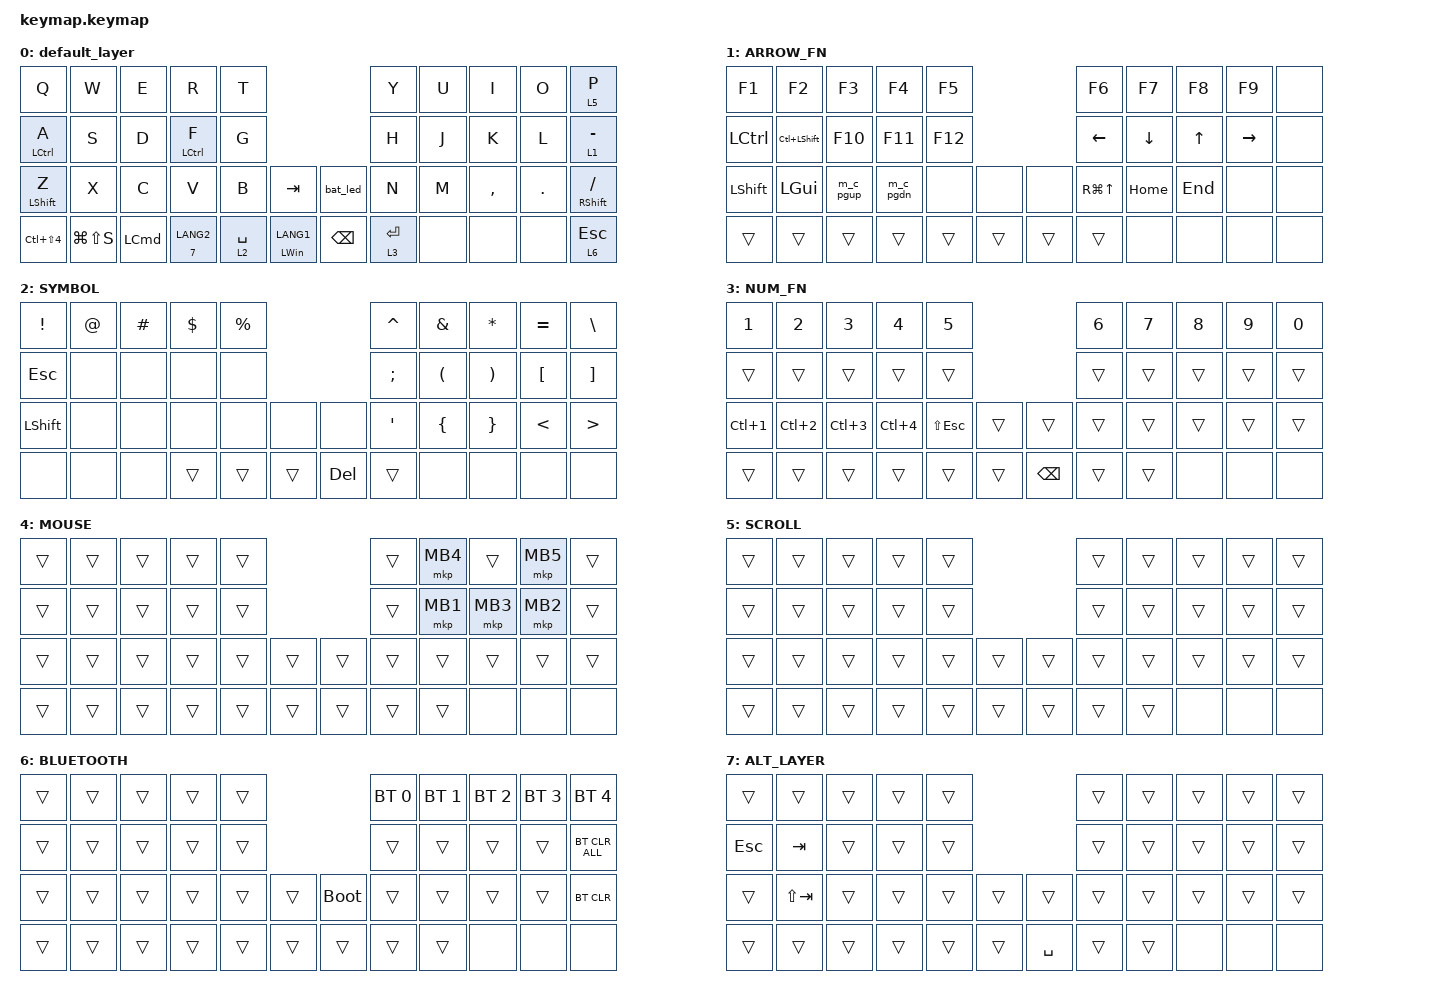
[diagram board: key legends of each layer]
/*
 * torabo-tsuki LP キーマップ設定 (zmk-config-roBa 移植版)
 * - レイヤー定義 (0:default 1:ARROW_FN 2:SYMBOL 3:NUM_FN 4:MOUSE 5:SCROLL 6:BLUETOOTH 7:ALT_LAYER)
 * - コンボ
 * - マクロ
 */

#define ZMK_POINTING_DEFAULT_SCRL_VAL 80

#include <behaviors.dtsi>
#include <dt-bindings/zmk/bt.h>
#include <dt-bindings/zmk/keys.h>
#include <dt-bindings/zmk/pointing.h>

&mt {
    flavor = "balanced";
    quick-tap-ms = <0>;
    tapping-term-ms = <180>;
};

&caps_word { continue-list = <UNDERSCORE MINUS BACKSPACE DELETE SPACE>; };

/ {
    combos {
        compatible = "zmk,combos";

        tab {
            bindings = <&kp TAB>;
            key-positions = <12 13>; // D+F
        };

        eq {
            bindings = <&kp EQUAL>;
            key-positions = <16 17>; // J+K
        };

        tilde {
            bindings = <&kp GRAVE>;
            key-positions = <6 7>; // U+I
        };

        bq {
            bindings = <&kp BACKSLASH>;
            key-positions = <28 29>; // M+,
        };

        layout_shift_on {
            bindings = <&tog_ls_on>;
            key-positions = <9 19>; // P+-
        };

        layout_shift_off {
            bindings = <&tog_ls_off>;
            key-positions = <19 31>; // -+/
        };
    };

    macros {
        m_c_pgup: m_c_pgup {
            compatible = "zmk,behavior-macro";
            #binding-cells = <0>;
            wait-ms = <0>;
            tap-ms = <0>;
            bindings =
                <&macro_press>,
                <&kp LCTRL>,
                <&macro_tap>,
                <&kp PAGE_UP>,
                <&macro_release>,
                <&kp LCTRL>;
        };

        m_c_pgdn: m_c_pgdn {
            compatible = "zmk,behavior-macro";
            #binding-cells = <0>;
            wait-ms = <0>;
            tap-ms = <0>;
            bindings =
                <&macro_press>,
                <&kp LCTRL>,
                <&macro_tap>,
                <&kp PAGE_DOWN>,
                <&macro_release>,
                <&kp LCTRL>;
        };

        // Layer-mod: holds LALT + activates specified layer

        lm: lm {
            compatible = "zmk,behavior-macro-one-param";
            #binding-cells = <1>;
            wait-ms = <0>;
            tap-ms = <0>;
            bindings =
                <&macro_press>,
                <&kp LALT &macro_param_1to1>,
                <&macro_press>,
                <&mo MACRO_PLACEHOLDER>,
                <&macro_pause_for_release>,
                <&macro_param_1to1>,
                <&macro_release>,
                <&mo MACRO_PLACEHOLDER>,
                <&macro_release>,
                <&kp LALT>;
        };
    };

    behaviors {
        // 電池残量をLEDの点滅回数(1〜5回)で表示する
        // 注意: splitで両手に届くようノード名は8文字以内にすること

        bat_led: bat_led {
            compatible = "zmk,behavior-battery-led";
            #binding-cells = <0>;
            led = <&status_led>;
            blink-ms = <150>;
            pause-ms = <250>;
        };

        // Keep the original key_press behavior for ZMK core components

        original_key_press: original_key_press {
            compatible = "zmk,behavior-key-press";
            #binding-cells = <1>;
            label = "KEY_PRESS";
        };

        // Override &kp for layout shift (Keymap Editor compatible)

        kp: key_press {
            compatible = "zmk,behavior-layout-shift-key-press";
            #binding-cells = <1>;
            label = "LAYOUT_SHIFT_KEY_PRESS";
        };

        tog_ls_on: toggle_layout_shift_on {
            compatible = "zmk,behavior-layout-shift-toggle";
            #binding-cells = <0>;
            toggle-mode = "on";
            label = "LAYOUT_SHIFT_TOGGLE_ON";
        };

        tog_ls_off: toggle_layout_shift_off {
            compatible = "zmk,behavior-layout-shift-toggle";
            #binding-cells = <0>;
            toggle-mode = "off";
            label = "LAYOUT_SHIFT_TOGGLE_OFF";
        };

        // Hold: ALT + layer, Tap: key

        alt_lt: alt_lt {
            compatible = "zmk,behavior-hold-tap";
            label = "ALT_LAYER_TAP";
            #binding-cells = <2>;
            tapping-term-ms = <180>;
            flavor = "balanced";
            bindings = <&lm>, <&kp>;
        };
    };

    keymap {
        compatible = "zmk,keymap";

        default_layer {
            bindings = <
&kp Q             &kp W          &kp E             &kp R               &kp T                                           &kp Y        &kp U  &kp I      &kp O    &lt 5 P
&mt LCTRL A       &kp S          &kp D             &mt LEFT_CONTROL F  &kp G                                           &kp H        &kp J  &kp K      &kp L    &lt 1 MINUS
&mt LEFT_SHIFT Z  &kp X          &kp C             &kp V               &kp B        &kp TAB             &bat_led       &kp N        &kp M  &kp COMMA  &kp DOT  &mt RIGHT_SHIFT SLASH
&kp LC(LS(N4))    &kp LG(LS(S))  &kp LEFT_COMMAND  &alt_lt 7 LANG2     &lt 2 SPACE  &mt LEFT_WIN LANG1  &kp BACKSPACE  &lt 3 ENTER  &none  &none      &none    &lt 6 ESCAPE
            >;
        };

        ARROW_FN {
            bindings = <
&kp F1            &kp F2              &kp F3     &kp F4     &kp F5                   &kp F6            &kp F7          &kp F8        &kp F9           &none
&kp LEFT_CONTROL  &kp LC(LEFT_SHIFT)  &kp F10    &kp F11    &kp F12                  &kp LEFT_ARROW    &kp DOWN_ARROW  &kp UP_ARROW  &kp RIGHT_ARROW  &none
&kp LEFT_SHIFT    &kp LEFT_GUI        &m_c_pgup  &m_c_pgdn  &none    &none   &none   &kp RG(UP_ARROW)  &kp HOME        &kp END       &none            &none
&trans            &trans              &trans     &trans     &trans   &trans  &trans  &trans            &none           &none         &none            &none
            >;
        };

        SYMBOL {
            bindings = <
&kp EXCLAMATION  &kp AT_SIGN  &kp HASH  &kp DOLLAR  &kp PERCENT                   &kp CARET         &kp AMPERSAND         &kp ASTERISK           &kp EQUAL         &kp BACKSLASH
&kp ESC          &none        &none     &none       &none                         &kp SEMICOLON     &kp LEFT_PARENTHESIS  &kp RIGHT_PARENTHESIS  &kp LEFT_BRACKET  &kp RIGHT_BRACKET
&kp LEFT_SHIFT   &none        &none     &none       &none        &none   &none    &kp SINGLE_QUOTE  &kp LEFT_BRACE        &kp RIGHT_BRACE        &kp LESS_THAN     &kp GREATER_THAN
&none            &none        &none     &trans      &trans       &trans  &kp DEL  &trans            &none                 &none                  &none             &none
            >;
        };

        NUM_FN {
            bindings = <
&kp N1            &kp N2            &kp N3            &kp N4            &kp N5                                 &kp N6  &kp N7  &kp N8  &kp N9  &kp N0
&trans            &trans            &trans            &trans            &trans                                 &trans  &trans  &trans  &trans  &trans
&kp LC(NUMBER_1)  &kp LC(NUMBER_2)  &kp LC(NUMBER_3)  &kp LC(NUMBER_4)  &kp LS(ESCAPE)  &trans  &trans         &trans  &trans  &trans  &trans  &trans
&trans            &trans            &trans            &trans            &trans          &trans  &kp BACKSPACE  &trans  &trans  &none   &none   &none
            >;
        };

        MOUSE {
            bindings = <
&trans  &trans  &trans  &trans  &trans                  &trans  &mkp MB4  &trans    &mkp MB5  &trans
&trans  &trans  &trans  &trans  &trans                  &trans  &mkp MB1  &mkp MB3  &mkp MB2  &trans
&trans  &trans  &trans  &trans  &trans  &trans  &trans  &trans  &trans    &trans    &trans    &trans
&trans  &trans  &trans  &trans  &trans  &trans  &trans  &trans  &trans    &none     &none     &none
            >;
        };

        SCROLL {
            bindings = <
&trans  &trans  &trans  &trans  &trans                  &trans  &trans  &trans  &trans  &trans
&trans  &trans  &trans  &trans  &trans                  &trans  &trans  &trans  &trans  &trans
&trans  &trans  &trans  &trans  &trans  &trans  &trans  &trans  &trans  &trans  &trans  &trans
&trans  &trans  &trans  &trans  &trans  &trans  &trans  &trans  &trans  &none   &none   &none
            >;
        };

        BLUETOOTH {
            bindings = <
&trans  &trans  &trans  &trans  &trans                       &bt BT_SEL 0  &bt BT_SEL 1  &bt BT_SEL 2  &bt BT_SEL 3  &bt BT_SEL 4
&trans  &trans  &trans  &trans  &trans                       &trans        &trans        &trans        &trans        &bt BT_CLR_ALL
&trans  &trans  &trans  &trans  &trans  &trans  &bootloader  &trans        &trans        &trans        &trans        &bt BT_CLR
&trans  &trans  &trans  &trans  &trans  &trans  &trans       &trans        &trans        &none         &none         &none
            >;
        };

        ALT_LAYER {
            bindings = <
&trans   &trans       &trans  &trans  &trans                     &trans  &trans  &trans  &trans  &trans
&kp ESC  &kp TAB      &trans  &trans  &trans                     &trans  &trans  &trans  &trans  &trans
&trans   &kp LS(TAB)  &trans  &trans  &trans  &trans  &trans     &trans  &trans  &trans  &trans  &trans
&trans   &trans       &trans  &trans  &trans  &trans  &kp SPACE  &trans  &trans  &none   &none   &none
            >;
        };
    };
};
